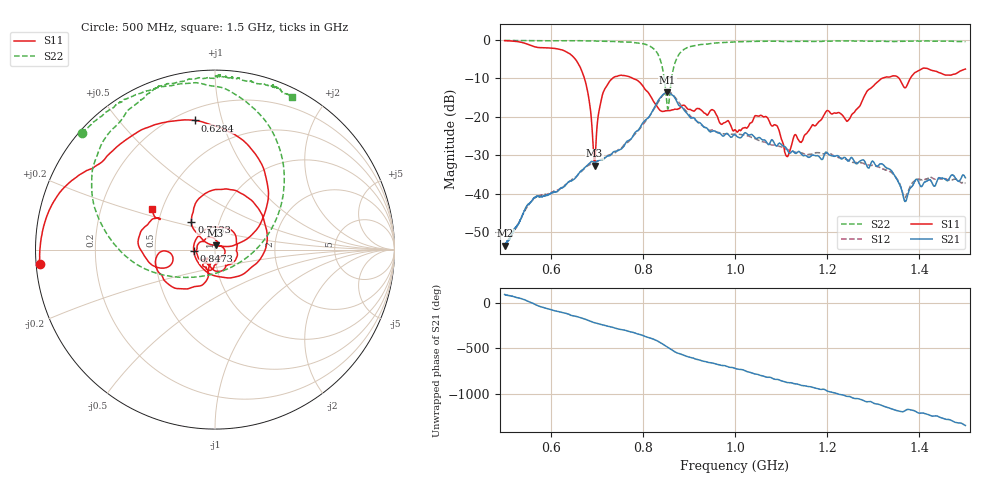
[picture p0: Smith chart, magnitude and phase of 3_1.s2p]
!Agilent Technologies,E8364B,US42250235,A.06.04.32
!Agilent E8364B: A.06.04.32
!Date: Thursday, October 01, 2020 14:23:04
!Correction: S11(Full 2 Port(1,2)) S21(Full 2 Port(1,2)) S12(Full 2 Port(1,2)) S22(Full 2 Port(1,2))
!S2P File: Measurements: S11, S21, S12, S22:
# Hz S  dB  R 50
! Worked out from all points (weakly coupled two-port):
!   2650 points, 500 MHz to 1.5 GHz, reference 50 ohm
!   highest |S21| = -13.63 dB at 853 MHz (marker M1); lowest = -53.5 dB at 501.5 MHz (marker M2)
!   lowest |S11| = -32.7 dB at 695.2 MHz (marker M3), VSWR 1.05, Z = 50.3 + j2.3 ohm
!   |S11| at or under -10 dB: 673.3 MHz to 733.9 MHz (60.59 MHz wide, 8.61 % of centre); 778.3 MHz to 1.319 GHz (540.4 MHz wide, 51.5 % of centre); 1.356 GHz to 1.38 GHz (24 MHz wide, 1.75 % of centre)
!   |S22| runs from -18.0 to -0.1 dB; largest |S21 - S12| = 0.043
!   S11 on the Smith chart (normalised r, x): 500 MHz: 0.01, -0.04; 628.4 MHz: 0.27, +0.82; 713.3 MHz: 0.74, +0.24; 847.3 MHz: 0.79, -0.01; 1.5 GHz: 0.44, +0.24
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5e8  -0.18 -175.4  -53.30 96.5  -53.59 95.6  -0.14 138.9
5.0151e8  -0.18 -176.1  -53.46 93.2  -53.61 94.9  -0.14 138.7
5.611552e8  -1.63 147.4  -41.42 0.6  -41.61 1.4  -0.19 131.3
6.283503e8  -2.75 98.9  -38.20 -105.9  -38.10 -104.7  -0.20 123.1
6.668554e8  -7.86 43.0  -33.93 -163.2  -34.15 -156.9  -0.21 120.9
6.95168e8  -32.71 81.5  -31.80 145.0  -31.81 156.7  -0.27 117.2
7.13288e8  -13.88 130.5  -31.10 120.4  -30.88 130.4  -0.32 113.7
7.491506e8  -9.26 77.0  -28.58 73.2  -28.32 82.9  -0.49 105.3
7.865232e8  -10.39 15.6  -23.74 23.7  -24.00 33.5  -0.78 91.9
8.337108e8  -17.78 -116.2  -15.66 -62.8  -16.07 -52.7  -3.93 54.1
8.473009e8  -18.49 -177.3  -13.87 -104.8  -13.98 -93.5  -10.78 12.9
8.529634e8  -18.38 155.7  -13.63 -124.0  -13.54 -112.4  -17.26 -42.7
8.691959e8  -17.97 95.7  -14.99 -175.7  -14.80 -165.3  -6.16 -175.0
8.861835e8  -17.02 52.0  -17.65 149.2  -17.45 155.9  -2.73 158.4
1.000189e9  -23.35 -130.4  -24.66 -0.6  -24.52 -0.7  -0.50 113.7
1.067006e9  -19.91 166.9  -26.29 -94.8  -26.66 -96.7  -0.33 109.1
1.113062e9  -30.31 49.3  -28.50 -156.4  -28.47 -156.0  -0.38 102.2
1.166667e9  -22.32 -79.0  -29.99 153.4  -29.68 144.5  -0.37 92.7
1.245564e9  -20.90 -116.3  -31.50 50.2  -31.29 35.9  -0.25 88.5
1.333522e9  -9.65 -153.1  -33.52 -75.8  -34.07 -78.5  -0.38 78.3
1.369385e9  -12.44 -168.5  -42.00 -105.9  -40.90 -105.7  -0.33 71.8
1.5e9  -7.57 146.9  -35.83 89.0  -37.28 90.7  -0.45 63.2
